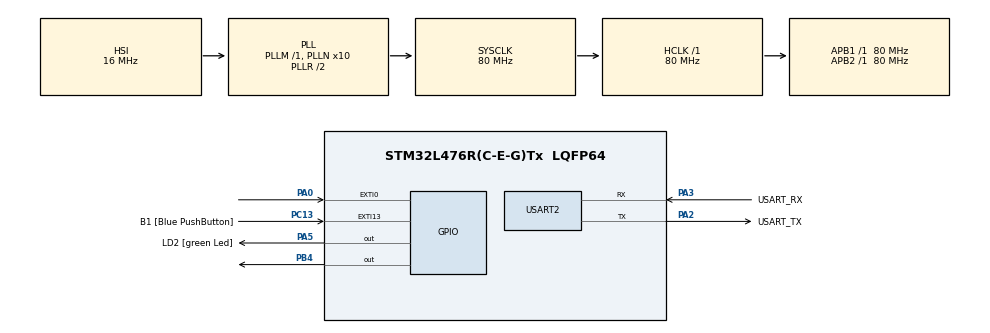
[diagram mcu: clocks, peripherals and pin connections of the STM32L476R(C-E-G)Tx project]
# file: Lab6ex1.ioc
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Mcu.Family=STM32L4
Mcu.Name=STM32L476R(C-E-G)Tx
Mcu.Package=LQFP64
NVIC.EXTI0_IRQn=true\:0\:0\:false\:false\:true\:true\:true\:true
NVIC.PriorityGroup=NVIC_PRIORITYGROUP_4
PA0.GPIO_ModeDefaultEXTI=GPIO_MODE_IT_FALLING
PA0.GPIO_PuPd=GPIO_PULLUP
PA0.Signal=GPXTI0
PA13\ (JTMS-SWDIO).GPIO_Label=TMS
PA13\ (JTMS-SWDIO).Mode=Serial_Wire
PA13\ (JTMS-SWDIO).Signal=SYS_JTMS-SWDIO
PA14\ (JTCK-SWCLK).GPIO_Label=TCK
PA14\ (JTCK-SWCLK).Mode=Serial_Wire
PA14\ (JTCK-SWCLK).Signal=SYS_JTCK-SWCLK
PA2.GPIO_Label=USART_TX
PA2.GPIO_Mode=GPIO_MODE_AF_PP
PA2.GPIO_PuPd=GPIO_NOPULL
PA2.GPIO_Speed=GPIO_SPEED_FREQ_VERY_HIGH
PA2.Mode=Asynchronous
PA2.Signal=USART2_TX
PA3.GPIO_Label=USART_RX
PA3.GPIO_Mode=GPIO_MODE_AF_PP
PA3.GPIO_PuPd=GPIO_NOPULL
PA3.GPIO_Speed=GPIO_SPEED_FREQ_VERY_HIGH
PA3.Mode=Asynchronous
PA3.Signal=USART2_RX
PA5.GPIO_Label=LD2 [green Led]
PA5.GPIO_ModeDefaultOutputPP=GPIO_MODE_OUTPUT_PP
PA5.GPIO_PuPd=GPIO_NOPULL
PA5.GPIO_Speed=GPIO_SPEED_FREQ_LOW
PA5.Signal=GPIO_Output
PB3\ (JTDO-TRACESWO).GPIO_Label=SWO
PB3\ (JTDO-TRACESWO).Signal=SYS_JTDO-SWO
PB4\ (NJTRST).GPIO_ModeDefaultOutputPP=GPIO_MODE_OUTPUT_PP
PB4\ (NJTRST).GPIO_PuPd=GPIO_NOPULL
PB4\ (NJTRST).PinState=GPIO_PIN_RESET
PB4\ (NJTRST).Signal=GPIO_Output
PC13.GPIO_Label=B1 [Blue PushButton]
PC13.GPIO_ModeDefaultEXTI=GPIO_MODE_IT_FALLING
PC13.GPIO_PuPd=GPIO_NOPULL
PC13.Signal=GPXTI13
PC14-OSC32_IN\ (PC14).Mode=LSE-External-Oscillator
PC14-OSC32_IN\ (PC14).Signal=RCC_OSC32_IN
PC15-OSC32_OUT\ (PC15).Mode=LSE-External-Oscillator
PC15-OSC32_OUT\ (PC15).Signal=RCC_OSC32_OUT
PH0-OSC_IN\ (PH0).Signal=RCC_OSC_IN
PH1-OSC_OUT\ (PH1).Signal=RCC_OSC_OUT
ProjectManager.HeapSize=0x200
ProjectManager.StackSize=0x400
ProjectManager.TargetToolchain=STM32CubeIDE
RCC.ADCFreq_Value=64000000
RCC.AHBFreq_Value=80000000
RCC.APB1Freq_Value=80000000
RCC.APB1TimFreq_Value=80000000
RCC.APB2Freq_Value=80000000
RCC.APB2TimFreq_Value=80000000
RCC.CortexFreq_Value=80000000
RCC.HCLKFreq_Value=80000000
RCC.HSE_VALUE=8000000
RCC.HSI_VALUE=16000000
RCC.MSI_VALUE=4000000
RCC.PLLN=10
RCC.PLLSourceVirtual=RCC_PLLSOURCE_HSI
RCC.PREFETCH_ENABLE=1
RCC.SYSCLKFreq_VALUE=80000000
RCC.SYSCLKSource=RCC_SYSCLKSOURCE_PLLCLK
RCC.USBFreq_Value=64000000
RCC.VCOOutputFreq_Value=160000000
USART2.VirtualMode-Asynchronous=VM_ASYNC
board=NUCLEO-L476RG

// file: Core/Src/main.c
/* USER CODE BEGIN Header */
/**
  ******************************************************************************
  * @file           : main.c
  * @brief          : Main program body
  ******************************************************************************
  * @attention
  *
  * Copyright (c) 2026 STMicroelectronics.
  * All rights reserved.
  *
  * This software is licensed under terms that can be found in the LICENSE file
  * in the root directory of this software component.
  * If no LICENSE file comes with this software, it is provided AS-IS.
  *
  ******************************************************************************
  */
/* USER CODE END Header */
#include "main.h"

UART_HandleTypeDef huart2;

void SystemClock_Config(void);
static void MX_GPIO_Init(void);
static void MX_USART2_UART_Init(void);
/* USER CODE BEGIN PFP */

volatile uint32_t g_ball_count = 0; // total triggers
volatile uint8_t g_ball_event = 0; // event flag set by ISR
//EXTI Callback (ISR)
//Short beep
void Buzzer_Beep(uint32_t ms) {
HAL_GPIO_WritePin(GPIOB, GPIO_PIN_4, GPIO_PIN_SET); // buzzer ON
HAL_Delay(ms);
HAL_GPIO_WritePin(GPIOB, GPIO_PIN_4, GPIO_PIN_RESET); // buzzer OFF
}
void HAL_GPIO_EXTI_Callback(uint16_t GPIO_Pin) {
if (GPIO_Pin == GPIO_PIN_0) { // Ball switch on PA0
g_ball_count++;
g_ball_event = 1;
}
}

/* USER CODE END PFP */

int main(void)
{

  /* USER CODE BEGIN 1 */

	int last = 0;

  /* USER CODE END 1 */

  /* MCU Configuration--------------------------------------------------------*/

  /* Reset of all peripherals, Initializes the Flash interface and the Systick. */
  HAL_Init();

  /* Configure the system clock */
  SystemClock_Config();

  /* Initialize all configured peripherals */
  MX_GPIO_Init();
  MX_USART2_UART_Init();

  /* Infinite loop */
  while (1)
  {

    /* USER CODE BEGIN 3 */

	  if (g_ball_event)
	      {

		  	  int start = HAL_GetTick();

	          if ((start - last) > 150)
	          {
	              g_ball_event = 0;
	              Buzzer_Beep(50);
	              last = start;
	          }
	      }
  }
  /* USER CODE END 3 */
}

void SystemClock_Config(void)
{
  RCC_OscInitTypeDef RCC_OscInitStruct = {0};
  RCC_ClkInitTypeDef RCC_ClkInitStruct = {0};

  /** Configure the main internal regulator output voltage
  */
  if (HAL_PWREx_ControlVoltageScaling(PWR_REGULATOR_VOLTAGE_SCALE1) != HAL_OK)
  {
    Error_Handler();
  }

  /** Initializes the RCC Oscillators according to the specified parameters
  * in the RCC_OscInitTypeDef structure.
  */
  RCC_OscInitStruct.OscillatorType = RCC_OSCILLATORTYPE_HSI;
  RCC_OscInitStruct.HSIState = RCC_HSI_ON;
  RCC_OscInitStruct.HSICalibrationValue = RCC_HSICALIBRATION_DEFAULT;
  RCC_OscInitStruct.PLL.PLLState = RCC_PLL_ON;
  RCC_OscInitStruct.PLL.PLLSource = RCC_PLLSOURCE_HSI;
  RCC_OscInitStruct.PLL.PLLM = 1;
  RCC_OscInitStruct.PLL.PLLN = 10;
  RCC_OscInitStruct.PLL.PLLP = RCC_PLLP_DIV7;
  RCC_OscInitStruct.PLL.PLLQ = RCC_PLLQ_DIV2;
  RCC_OscInitStruct.PLL.PLLR = RCC_PLLR_DIV2;
  if (HAL_RCC_OscConfig(&RCC_OscInitStruct) != HAL_OK)
  {
    Error_Handler();
  }

  /** Initializes the CPU, AHB and APB buses clocks
  */
  RCC_ClkInitStruct.ClockType = RCC_CLOCKTYPE_HCLK|RCC_CLOCKTYPE_SYSCLK
                              |RCC_CLOCKTYPE_PCLK1|RCC_CLOCKTYPE_PCLK2;
  RCC_ClkInitStruct.SYSCLKSource = RCC_SYSCLKSOURCE_PLLCLK;
  RCC_ClkInitStruct.AHBCLKDivider = RCC_SYSCLK_DIV1;
  RCC_ClkInitStruct.APB1CLKDivider = RCC_HCLK_DIV1;
  RCC_ClkInitStruct.APB2CLKDivider = RCC_HCLK_DIV1;

  if (HAL_RCC_ClockConfig(&RCC_ClkInitStruct, FLASH_LATENCY_4) != HAL_OK)
  {
    Error_Handler();
  }
}

static void MX_USART2_UART_Init(void)
{

  huart2.Instance = USART2;
  huart2.Init.BaudRate = 115200;
  huart2.Init.WordLength = UART_WORDLENGTH_8B;
  huart2.Init.StopBits = UART_STOPBITS_1;
  huart2.Init.Parity = UART_PARITY_NONE;
  huart2.Init.Mode = UART_MODE_TX_RX;
  huart2.Init.HwFlowCtl = UART_HWCONTROL_NONE;
  huart2.Init.OverSampling = UART_OVERSAMPLING_16;
  huart2.Init.OneBitSampling = UART_ONE_BIT_SAMPLE_DISABLE;
  huart2.AdvancedInit.AdvFeatureInit = UART_ADVFEATURE_NO_INIT;
  if (HAL_UART_Init(&huart2) != HAL_OK)
  {
    Error_Handler();
  }

}

static void MX_GPIO_Init(void)
{
  GPIO_InitTypeDef GPIO_InitStruct = {0};

  /* GPIO Ports Clock Enable */
  __HAL_RCC_GPIOC_CLK_ENABLE();
  __HAL_RCC_GPIOH_CLK_ENABLE();
  __HAL_RCC_GPIOA_CLK_ENABLE();
  __HAL_RCC_GPIOB_CLK_ENABLE();

  /*Configure GPIO pin Output Level */
  HAL_GPIO_WritePin(LD2_GPIO_Port, LD2_Pin, GPIO_PIN_RESET);

  /*Configure GPIO pin Output Level */
  HAL_GPIO_WritePin(GPIOB, GPIO_PIN_4, GPIO_PIN_RESET);

  /*Configure GPIO pin : B1_Pin */
  GPIO_InitStruct.Pin = B1_Pin;
  GPIO_InitStruct.Mode = GPIO_MODE_IT_FALLING;
  GPIO_InitStruct.Pull = GPIO_NOPULL;
  HAL_GPIO_Init(B1_GPIO_Port, &GPIO_InitStruct);

  /*Configure GPIO pin : PA0 */
  GPIO_InitStruct.Pin = GPIO_PIN_0;
  GPIO_InitStruct.Mode = GPIO_MODE_IT_FALLING;
  GPIO_InitStruct.Pull = GPIO_PULLUP;
  HAL_GPIO_Init(GPIOA, &GPIO_InitStruct);

  /*Configure GPIO pin : LD2_Pin */
  GPIO_InitStruct.Pin = LD2_Pin;
  GPIO_InitStruct.Mode = GPIO_MODE_OUTPUT_PP;
  GPIO_InitStruct.Pull = GPIO_NOPULL;
  GPIO_InitStruct.Speed = GPIO_SPEED_FREQ_LOW;
  HAL_GPIO_Init(LD2_GPIO_Port, &GPIO_InitStruct);

  /*Configure GPIO pin : PB4 */
  GPIO_InitStruct.Pin = GPIO_PIN_4;
  GPIO_InitStruct.Mode = GPIO_MODE_OUTPUT_PP;
  GPIO_InitStruct.Pull = GPIO_NOPULL;
  GPIO_InitStruct.Speed = GPIO_SPEED_FREQ_LOW;
  HAL_GPIO_Init(GPIOB, &GPIO_InitStruct);

  /* EXTI interrupt init*/
  HAL_NVIC_SetPriority(EXTI0_IRQn, 0, 0);
  HAL_NVIC_EnableIRQ(EXTI0_IRQn);

}

void Error_Handler(void)
{
  __disable_irq();
  while (1)
  {
  }
}
